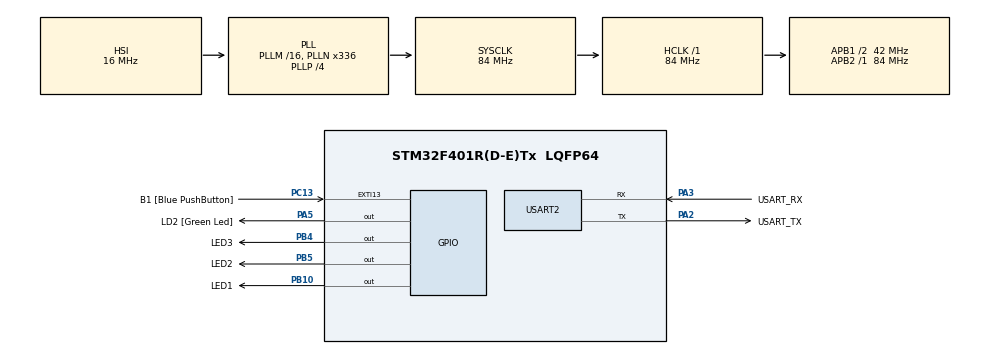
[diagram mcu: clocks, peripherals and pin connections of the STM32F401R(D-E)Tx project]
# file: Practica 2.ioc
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Mcu.Family=STM32F4
Mcu.Name=STM32F401R(D-E)Tx
Mcu.Package=LQFP64
NVIC.PriorityGroup=NVIC_PRIORITYGROUP_0
PA13.GPIO_Label=TMS
PA13.Mode=Serial_Wire
PA13.Signal=SYS_JTMS-SWDIO
PA14.GPIO_Label=TCK
PA14.Mode=Serial_Wire
PA14.Signal=SYS_JTCK-SWCLK
PA2.GPIO_Label=USART_TX
PA2.GPIO_Mode=GPIO_MODE_AF_PP
PA2.GPIO_PuPd=GPIO_NOPULL
PA2.GPIO_Speed=GPIO_SPEED_FREQ_LOW
PA2.Mode=Asynchronous
PA2.Signal=USART2_TX
PA3.GPIO_Label=USART_RX
PA3.GPIO_Mode=GPIO_MODE_AF_PP
PA3.GPIO_PuPd=GPIO_NOPULL
PA3.GPIO_Speed=GPIO_SPEED_FREQ_LOW
PA3.Mode=Asynchronous
PA3.Signal=USART2_RX
PA5.GPIO_Label=LD2 [Green Led]
PA5.GPIO_Mode=GPIO_MODE_OUTPUT_PP
PA5.GPIO_PuPd=GPIO_NOPULL
PA5.GPIO_Speed=GPIO_SPEED_FREQ_LOW
PA5.Signal=GPIO_Output
PB10.GPIO_Label=LED1
PB10.Signal=GPIO_Output
PB3.GPIO_Label=SWO
PB3.Signal=SYS_JTDO-SWO
PB4.GPIO_Label=LED3
PB4.Signal=GPIO_Output
PB5.GPIO_Label=LED2
PB5.Signal=GPIO_Output
PC13-ANTI_TAMP.GPIO_Label=B1 [Blue PushButton]
PC13-ANTI_TAMP.GPIO_ModeDefaultEXTI=GPIO_MODE_IT_FALLING
PC13-ANTI_TAMP.GPIO_PuPd=GPIO_NOPULL
PC13-ANTI_TAMP.Signal=GPXTI13
PC14-OSC32_IN.Mode=LSE-External-Oscillator
PC14-OSC32_IN.Signal=RCC_OSC32_IN
PC15-OSC32_OUT.Mode=LSE-External-Oscillator
PC15-OSC32_OUT.Signal=RCC_OSC32_OUT
PH0\ -\ OSC_IN.Mode=HSE-External-Clock-Source
PH0\ -\ OSC_IN.Signal=RCC_OSC_IN
PH1\ -\ OSC_OUT.Mode=HSE-External-Clock-Source
PH1\ -\ OSC_OUT.Signal=RCC_OSC_OUT
ProjectManager.HeapSize=0x200
ProjectManager.StackSize=0x400
ProjectManager.TargetToolchain=STM32CubeIDE
RCC.48MHZClocksFreq_Value=48000000
RCC.AHBFreq_Value=84000000
RCC.APB1CLKDivider=RCC_HCLK_DIV2
RCC.APB1Freq_Value=42000000
RCC.APB1TimFreq_Value=84000000
RCC.APB2Freq_Value=84000000
RCC.APB2TimFreq_Value=84000000
RCC.CortexFreq_Value=84000000
RCC.HCLKFreq_Value=84000000
RCC.HSE_VALUE=8000000
RCC.HSI_VALUE=16000000
RCC.PLLN=336
RCC.PLLP=RCC_PLLP_DIV4
RCC.PLLQ=7
RCC.SYSCLKFreq_VALUE=84000000
RCC.SYSCLKSource=RCC_SYSCLKSOURCE_PLLCLK
RCC.VCOOutputFreq_Value=336000000
USART2.VirtualMode=VM_ASYNC
board=NUCLEO-F401RE

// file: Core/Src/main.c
/* USER CODE BEGIN Header */
/**
  ******************************************************************************
  * @file           : main.c
  * @brief          : Main program body
  ******************************************************************************
  * @attention
  *
  * Copyright (c) 2023 STMicroelectronics.
  * All rights reserved.
  *
  * This software is licensed under terms that can be found in the LICENSE file
  * in the root directory of this software component.
  * If no LICENSE file comes with this software, it is provided AS-IS.
  *
  ******************************************************************************
  */
/* USER CODE END Header */
#include "main.h"

UART_HandleTypeDef huart2;

void SystemClock_Config(void);
static void MX_GPIO_Init(void);
static void MX_USART2_UART_Init(void);

int main(void)
{

  /* MCU Configuration--------------------------------------------------------*/

  /* Reset of all peripherals, Initializes the Flash interface and the Systick. */
  HAL_Init();

  /* Configure the system clock */
  SystemClock_Config();

  /* Initialize all configured peripherals */
  MX_GPIO_Init();
  MX_USART2_UART_Init();

	struct led_data LED1;
	struct led_data LED2;
	struct led_data LED3;
	/* USER CODE END 2 */

	LED_init(LED1, LED2, LED3);

	delay_t MyTimerForLed1;
	delay_t MyTimerForLed2;
	delay_t MyTimerForLed3;

	delayInit(&MyTimerForLed1,LED1_TIMMER);
	delayRead(&MyTimerForLed1); //Empieza con el Primer tiempo

	delayInit(&MyTimerForLed2,LED2_TIMMER);
	delayRead(&MyTimerForLed2); //Empieza con el Segundo tiempo

	delayInit(&MyTimerForLed3,LED3_TIMMER);
	delayRead(&MyTimerForLed3); //Empieza con el Tercer tiempo

  /* Infinite loop */
  while (1)
  {
	  	  if(delayRead(&MyTimerForLed1)){
	  		  LED_TOGGLE(LED1);
	  		  delayRead(&MyTimerForLed1);
	  	  }
	  	  if(delayRead(&MyTimerForLed2)){
	  	  		  LED_TOGGLE(LED2);
	  	  		  delayRead(&MyTimerForLed2);
	  	  	  }
	  	  if(delayRead(&MyTimerForLed3)){
	  	  		  LED_TOGGLE(LED3);
	  	  		  delayRead(&MyTimerForLed3);
	  	  	  }

  }

  /* USER CODE END 3 */
}

void SystemClock_Config(void)
{
  RCC_OscInitTypeDef RCC_OscInitStruct = {0};
  RCC_ClkInitTypeDef RCC_ClkInitStruct = {0};

  /** Configure the main internal regulator output voltage
  */
  __HAL_RCC_PWR_CLK_ENABLE();
  __HAL_PWR_VOLTAGESCALING_CONFIG(PWR_REGULATOR_VOLTAGE_SCALE2);

  /** Initializes the RCC Oscillators according to the specified parameters
  * in the RCC_OscInitTypeDef structure.
  */
  RCC_OscInitStruct.OscillatorType = RCC_OSCILLATORTYPE_HSI;
  RCC_OscInitStruct.HSIState = RCC_HSI_ON;
  RCC_OscInitStruct.HSICalibrationValue = RCC_HSICALIBRATION_DEFAULT;
  RCC_OscInitStruct.PLL.PLLState = RCC_PLL_ON;
  RCC_OscInitStruct.PLL.PLLSource = RCC_PLLSOURCE_HSI;
  RCC_OscInitStruct.PLL.PLLM = 16;
  RCC_OscInitStruct.PLL.PLLN = 336;
  RCC_OscInitStruct.PLL.PLLP = RCC_PLLP_DIV4;
  RCC_OscInitStruct.PLL.PLLQ = 7;
  if (HAL_RCC_OscConfig(&RCC_OscInitStruct) != HAL_OK)
  {
    Error_Handler();
  }

  /** Initializes the CPU, AHB and APB buses clocks
  */
  RCC_ClkInitStruct.ClockType = RCC_CLOCKTYPE_HCLK|RCC_CLOCKTYPE_SYSCLK
                              |RCC_CLOCKTYPE_PCLK1|RCC_CLOCKTYPE_PCLK2;
  RCC_ClkInitStruct.SYSCLKSource = RCC_SYSCLKSOURCE_PLLCLK;
  RCC_ClkInitStruct.AHBCLKDivider = RCC_SYSCLK_DIV1;
  RCC_ClkInitStruct.APB1CLKDivider = RCC_HCLK_DIV2;
  RCC_ClkInitStruct.APB2CLKDivider = RCC_HCLK_DIV1;

  if (HAL_RCC_ClockConfig(&RCC_ClkInitStruct, FLASH_LATENCY_2) != HAL_OK)
  {
    Error_Handler();
  }
}

static void MX_USART2_UART_Init(void)
{

  huart2.Instance = USART2;
  huart2.Init.BaudRate = 115200;
  huart2.Init.WordLength = UART_WORDLENGTH_8B;
  huart2.Init.StopBits = UART_STOPBITS_1;
  huart2.Init.Parity = UART_PARITY_NONE;
  huart2.Init.Mode = UART_MODE_TX_RX;
  huart2.Init.HwFlowCtl = UART_HWCONTROL_NONE;
  huart2.Init.OverSampling = UART_OVERSAMPLING_16;
  if (HAL_UART_Init(&huart2) != HAL_OK)
  {
    Error_Handler();
  }

}

static void MX_GPIO_Init(void)
{
  GPIO_InitTypeDef GPIO_InitStruct = {0};

  /* GPIO Ports Clock Enable */
  __HAL_RCC_GPIOC_CLK_ENABLE();
  __HAL_RCC_GPIOH_CLK_ENABLE();
  __HAL_RCC_GPIOA_CLK_ENABLE();
  __HAL_RCC_GPIOB_CLK_ENABLE();

  /*Configure GPIO pin Output Level */
  HAL_GPIO_WritePin(LD2_GPIO_Port, LD2_Pin, GPIO_PIN_RESET);

  /*Configure GPIO pin Output Level */
  HAL_GPIO_WritePin(GPIOB, LED1_Pin|LED3_Pin|LED2_Pin, GPIO_PIN_RESET);

  /*Configure GPIO pin : B1_Pin */
  GPIO_InitStruct.Pin = B1_Pin;
  GPIO_InitStruct.Mode = GPIO_MODE_IT_FALLING;
  GPIO_InitStruct.Pull = GPIO_NOPULL;
  HAL_GPIO_Init(B1_GPIO_Port, &GPIO_InitStruct);

  /*Configure GPIO pin : LD2_Pin */
  GPIO_InitStruct.Pin = LD2_Pin;
  GPIO_InitStruct.Mode = GPIO_MODE_OUTPUT_PP;
  GPIO_InitStruct.Pull = GPIO_NOPULL;
  GPIO_InitStruct.Speed = GPIO_SPEED_FREQ_LOW;
  HAL_GPIO_Init(LD2_GPIO_Port, &GPIO_InitStruct);

  /*Configure GPIO pins : LED1_Pin LED3_Pin LED2_Pin */
  GPIO_InitStruct.Pin = LED1_Pin|LED3_Pin|LED2_Pin;
  GPIO_InitStruct.Mode = GPIO_MODE_OUTPUT_PP;
  GPIO_InitStruct.Pull = GPIO_NOPULL;
  GPIO_InitStruct.Speed = GPIO_SPEED_FREQ_LOW;
  HAL_GPIO_Init(GPIOB, &GPIO_InitStruct);

}

/* USER CODE BEGIN 4 */

void delayInit( delay_t * delay, tick_t duration ){ //Setea el tiempo pero no inicializa el tim

	if (delay == NULL || duration <=0){
		Error_Handler();
	}
	delay->running = false;
	delay->duration = duration;

}

bool_t delayRead( delay_t * delay ){
	if (delay == NULL){
			Error_Handler();
		}
	if (delay->running == false){ 				//No estaba inicializado
		delay->startTime = HAL_GetTick();
		delay->running = true;	//Empueza a correr
		return false;
	}else{
		if( HAL_GetTick() - delay->startTime > delay->duration){
			//Termino el tiempo
			delay->running = false;
			return true;
		} else {
			return false;
		}
	}

}

void delayWrite( delay_t * delay, tick_t duration ){
	if (delay == NULL || duration <=0){
			Error_Handler();
		}
	delay->duration = duration;
}

/* USER CODE END 4 */

void Error_Handler(void)
{
  __disable_irq();
  while (1)
  {
  }
}
